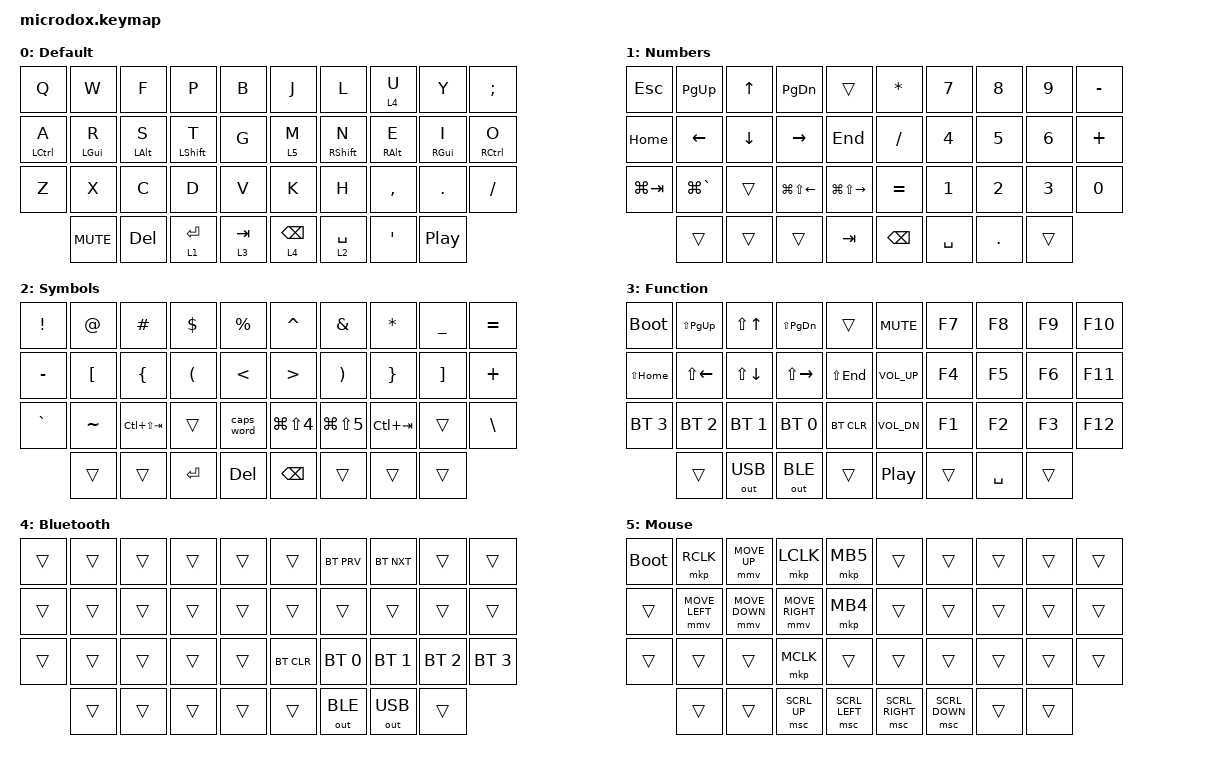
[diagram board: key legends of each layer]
#include <behaviors.dtsi>
#include <dt-bindings/zmk/bt.h>
#include <dt-bindings/zmk/keys.h>
#include <dt-bindings/zmk/outputs.h>
#include <dt-bindings/zmk/pointing.h>

#define DEFAULT 0
#define NAV     1
#define SYM     2
#define FUNC    3
#define MEDIA   4
#define MOUSE   5
#define WINNAV  6

&caps_word { continue-list = <UNDERSCORE MINUS>; };

/ {
    combos {
        compatible = "zmk,combos";

        combo_undo {
            timeout-ms = <50>;
            key-positions = <20 21>;
            bindings = <&kp LC(Z)>;
        };

        combo_copy {
            timeout-ms = <50>;
            key-positions = <21 22>;
            bindings = <&kp LG(Q)>;
        };

        combo_paste {
            timeout-ms = <50>;
            key-positions = <23 24>;
            bindings = <&kp LG(V)>;
        };

        combo_cut {
            bindings = <&kp LG(X)>;
            key-positions = <22 23>;
        };

        combo_switch_app {
            bindings = <&kp LG(TAB)>;
            key-positions = <3 4>;
        };

        combo_switch_window {
            bindings = <&kp LG(GRAVE)>;
            key-positions = <5 6>;
        };

        combo_pipe {
            bindings = <&kp PIPE>;
            key-positions = <26 25>;
        };

        combo_back_slash {
            bindings = <&kp LS(NON_US_BACKSLASH)>;
            key-positions = <27 28>;
        };

        combo_grave {
            bindings = <&kp GRAVE>;
            key-positions = <26 27>;
        };

        combo_underscore {
            bindings = <&kp UNDERSCORE>;
            key-positions = <28 29>;
        };

        combo_curly_right {
            bindings = <&kp RIGHT_BRACE>;
            key-positions = <8 9>;
        };

        combo_curly_left {
            bindings = <&kp LEFT_BRACE>;
            key-positions = <0 1>;
        };

        combo_square_left {
            bindings = <&kp LEFT_BRACKET>;
            key-positions = <3 2>;
        };

        combo_square_right {
            bindings = <&kp RIGHT_BRACKET>;
            key-positions = <6 7>;
        };

        combo_paren_left {
            bindings = <&kp LEFT_PARENTHESIS>;
            key-positions = <1 2>;
        };

        combo_paren_right {
            bindings = <&kp RIGHT_PARENTHESIS>;
            key-positions = <7 8>;
        };

        combo_search {
            bindings = <&kp LG(SPACE)>;
            key-positions = <13 14 15 16>;
        };
    };
};

/ {
    behaviors {
        hm: homerow_mods {
            compatible = "zmk,behavior-hold-tap";
            label = "HOMEROW_MODS";
            #binding-cells = <2>;
            tapping-term-ms = <200>;
            quick_tap_ms = <0>;
            flavor = "balanced";
            bindings = <&kp>, <&kp>;
        };

        hs: homerow_shift {
            compatible = "zmk,behavior-hold-tap";
            label = "HOMEROW_SHIFT";
            #binding-cells = <2>;
            tapping-term-ms = <175>;
            quick_tap_ms = <0>;
            flavor = "balanced";
            bindings = <&kp>, <&kp>;
        };

        pht: positional_hold_tap {
            compatible = "zmk,behavior-hold-tap";
            label = "POSITIONAL_HOLD_TAP";
            #binding-cells = <2>;
            flavor = "hold-preferred";
            tapping-term-ms = <400>;
            quick-tap-ms = <200>;
            bindings = <&kp>, <&kp>;

            hold-trigger-key-positions = <1>;    // <---[[the W key]]
        };
    };

    keymap {
        compatible = "zmk,keymap";

        base_layer {
            label = "Default";
            bindings = <
&kp Q          &kp W         &kp F         &kp P           &kp B        &kp J         &kp L           &lt 4 U       &kp Y               &kp SEMI
&hm LCTRL A    &hm LGUI R    &hm LALT S    &hs LSHIFT T    &kp G        &lt 5 M       &hs RSHIFT N    &hm RALT E    &hm RGUI I          &hm RCTRL O
&kp Z          &kp X         &kp C         &kp D           &kp V        &kp K         &kp H           &kp COMMA     &kp DOT             &kp FSLH
               &kp K_MUTE    &kp DEL       &lt 1 RET       &lt 3 TAB    &lt 4 BSPC    &lt 2 SPACE     &kp SQT       &kp C_PLAY_PAUSE
            >;
        };

        num_layer {
            label = "Numbers";
            bindings = <
&kp ESC        &kp PG_UP        &kp UP      &kp PG_DN                 &trans               &kp ASTRK    &kp N7       &kp N8     &kp N9    &kp MINUS
&kp HOME       &kp LEFT         &kp DOWN    &kp RIGHT                 &kp END              &kp FSLH     &kp N4       &kp N5     &kp N6    &kp PLUS
&kp LG(TAB)    &kp LG(GRAVE)    &trans      &kp LG(LS(LEFT_ARROW))    &kp LG(LS(RIGHT))    &kp EQUAL    &kp N1       &kp N2     &kp N3    &kp N0
               &trans           &trans      &trans                    &kp TAB              &kp BSPC     &kp SPACE    &kp DOT    &trans
            >;
        };

        sym_layer {
            label = "Symbols";
            bindings = <
&kp EXCL     &kp AT       &kp HASH           &kp DLLR    &kp PRCNT     &kp CARET               &kp AMPS          &kp ASTRK      &kp UNDER    &kp EQUAL
&kp MINUS    &kp LBKT     &kp LBRC           &kp LPAR    &kp LT        &kp GT                  &kp RPAR          &kp RBRC       &kp RBKT     &kp PLUS
&kp GRAVE    &kp TILDE    &kp LC(LS(TAB))    &trans      &caps_word    &kp LG(LS(NUMBER_4))    &kp LG(LS(N5))    &kp LC(TAB)    &trans       &kp BSLH
             &trans       &trans             &kp RET     &kp DEL       &kp BSPC                &trans            &trans         &trans
            >;
        };

        func_layer {
            label = "Function";
            bindings = <
&bootloader     &kp LS(PG_UP)    &kp LS(UP)      &kp LS(PG_DN)    &trans         &kp C_MUTE          &kp F7    &kp F8       &kp F9    &kp F10
&kp LS(HOME)    &kp LS(LEFT)     &kp LS(DOWN)    &kp LS(RIGHT)    &kp LS(END)    &kp K_VOL_UP        &kp F4    &kp F5       &kp F6    &kp F11
&bt BT_SEL 3    &bt BT_SEL 2     &bt BT_SEL 1    &bt BT_SEL 0     &bt BT_CLR     &kp K_VOL_DN        &kp F1    &kp F2       &kp F3    &kp F12
                &trans           &out OUT_USB    &out OUT_BLE     &trans         &kp C_PLAY_PAUSE    &trans    &kp SPACE    &trans
            >;
        };

        bt_layer {
            label = "Bluetooth";
            bindings = <
&trans    &trans    &trans    &trans    &trans    &trans        &bt BT_PRV      &bt BT_NXT      &trans          &trans
&trans    &trans    &trans    &trans    &trans    &trans        &trans          &trans          &trans          &trans
&trans    &trans    &trans    &trans    &trans    &bt BT_CLR    &bt BT_SEL 0    &bt BT_SEL 1    &bt BT_SEL 2    &bt BT_SEL 3
          &trans    &trans    &trans    &trans    &trans        &out OUT_BLE    &out OUT_USB    &trans
            >;
        };

        mouse_layer {
            label = "Mouse";
            bindings = <
&bootloader    &mkp RCLK         &mmv MOVE_UP      &mkp LCLK          &mkp MB5          &trans             &trans            &trans    &trans    &trans
&trans         &mmv MOVE_LEFT    &mmv MOVE_DOWN    &mmv MOVE_RIGHT    &mkp MB4          &trans             &trans            &trans    &trans    &trans
&trans         &trans            &trans            &mkp MCLK          &trans            &trans             &trans            &trans    &trans    &trans
               &trans            &trans            &msc SCRL_UP       &msc SCRL_LEFT    &msc SCRL_RIGHT    &msc SCRL_DOWN    &trans    &trans
            >;
        };
    };
};
